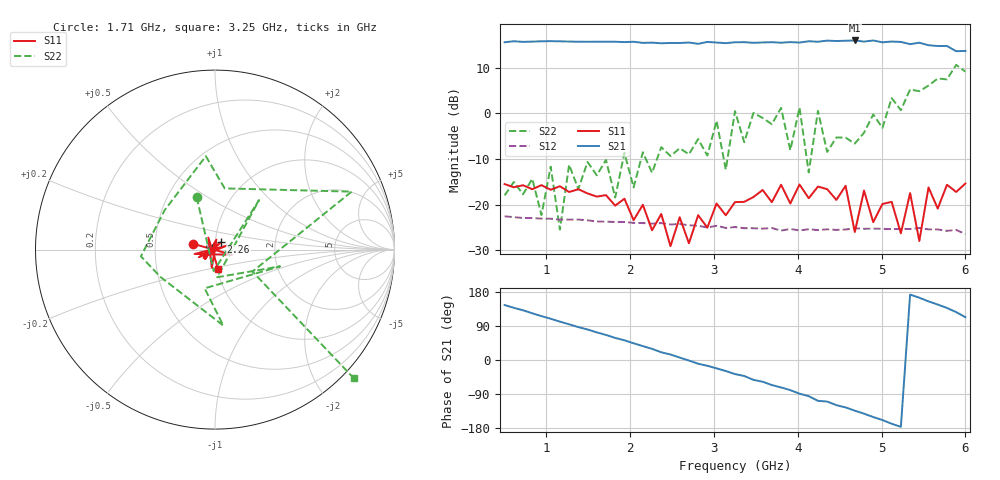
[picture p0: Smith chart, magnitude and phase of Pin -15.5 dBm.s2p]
! RsaToolbox (C) 2015 Rohde & Schwarz America
! Number of points: 51
! Number of ports: 2
! Balanced ports?: No
# Hz S RI R 50
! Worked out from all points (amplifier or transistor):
!   51 points, 500 MHz to 6 GHz, reference 50 ohm
!   highest |S21| = 15.9 dB at 4.68 GHz (marker M1)
!   |S21| within 3 dB of that: start of sweep to end of sweep
!   unconditionally stable (mu >= 1): start of sweep to 3.003 GHz; 3.048 GHz to 3.219 GHz; 4.29 GHz to 4.8 GHz (the widest 3 of 6)
!   at 1.38 GHz: K = 1.34, MAG = 16.0 dB, |S12| = -23.3 dB
!   at 3.25 GHz: K = 0.07, MSG = 20.2 dB, |S12| = -24.9 dB
!   at 6 GHz: K = -14.77, MSG = 20.0 dB, |S12| = -26.4 dB
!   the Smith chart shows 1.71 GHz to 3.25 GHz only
!   S11 on the Smith chart (normalised r, x): 1.71 GHz: 0.78, +0.05; 2.26 GHz: 1.07, +0.09; 3.25 GHz: 1.01, -0.22
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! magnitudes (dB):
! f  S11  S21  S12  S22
! 500 MHz  -15.5  15.5  -22.5  -18.0
! 940 MHz  -15.7  15.8  -23.0  -22.3
! 1.05 GHz  -16.7  15.8  -23.1  -11.7
! 1.16 GHz  -16.0  15.7  -23.3  -25.5
! 1.27 GHz  -17.2  15.7  -23.3  -11.2
! 1.49 GHz  -17.5  15.6  -23.4  -10.7
! 1.71 GHz  -17.9  15.7  -23.7  -10.2
! 2.26 GHz  -25.6  15.5  -24.1  -13.0
! 2.37 GHz  -22.0  15.3  -24.0  -7.4
! 3.03 GHz  -19.7  15.5  -24.6  -1.6
! 3.14 GHz  -22.3  15.3  -25.1  -12.3
! 3.25 GHz  -19.4  15.5  -24.9  0.5
! 3.8 GHz  -15.6  15.4  -25.7  1.2
! 3.91 GHz  -19.7  15.6  -25.3  -8.1
! 4.02 GHz  -15.6  15.5  -25.6  1.2
! 4.13 GHz  -18.6  15.8  -25.4  -12.9
! 4.24 GHz  -16.0  15.7  -25.6  0.5
! 4.68 GHz  -26.0  15.9  -25.2  -6.6
! 5.12 GHz  -19.4  15.7  -25.3  3.3
! 5.45 GHz  -27.9  15.4  -25.1  4.8
! 5.56 GHz  -16.2  14.9  -25.4  6.1
! 6 GHz  -15.4  13.7  -26.4  9.1
